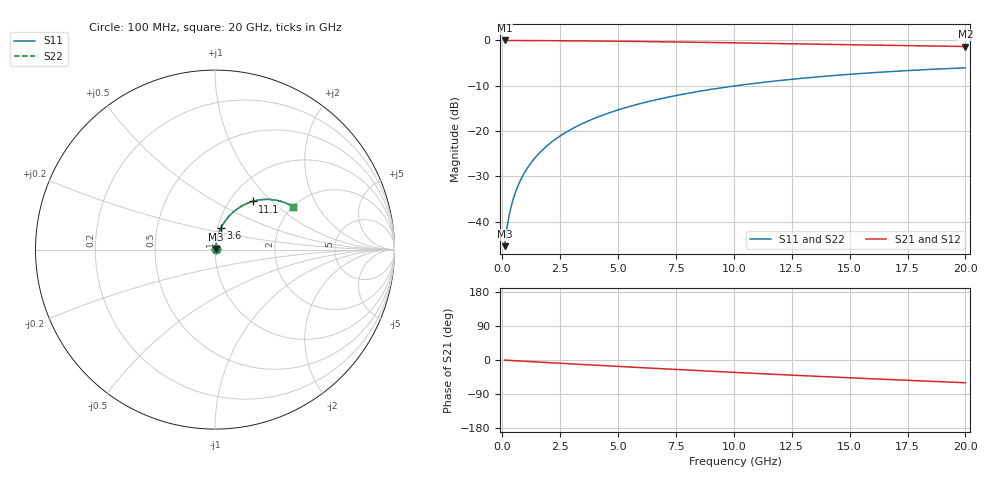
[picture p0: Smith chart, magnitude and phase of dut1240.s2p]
! Touchstone file exported from HFSS 2026.1.0
!  File:  C:/ffzhzh/LocalFiles/Ansys_Project_Files/temp_train_TMRDL_1240_1783163628_22436.aedt
!  Generated:  07:15:13 PM Jul  4, 2026
!  Design:  TMRDL
!  Project:  temp_train_TMRDL_1240_1783163628_22436
! Variables:
!  h_bsmrdl = 2um
!  h_ox = 20um
!  h_rdl = 5um
!  h_sub = 80um
!  h_tmrdl = 4.28um
!  h_tsv = 80um
!  h_via = 3um
!  l_bsmrdl = 300um
!  l_sub = 1341.21um
!  l_tmrdl = 941.21um
!  m_sub = 200um
!  pitch = 51.51um
!  r_tsv = 6um
!  s_tmrdl = 10um
!  w_bsmrdl = 18um
!  w_sub = 500um
!  w_tmrdl = 21.88um
!  x_tsv_center1 = 952.15um
!  x_tsv_center2 = 1270.15um
!  x_tsv_center3 = 2233.24um
!  x_tsv_center4 = 2551.24um
!  x_tsv_center5 = 3514.33um
!  x_tsv_center6 = 3832.33um
# GHz S MA R 50.000000
! Terminal data exported
! Port[1] = TM_RDL1_1_T1
! Port[2] = TM_RDL1_1_T2
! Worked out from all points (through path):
!   200 points, 100 MHz to 20 GHz, reference 50 ohm
!   highest |S21| = -0.03 dB at 100 MHz (marker M1); lowest = -1.4 dB at 20 GHz (marker M2)
!   group delay of S21, straight-line fit = 8.33 ps
!   lowest |S11| = -45.4 dB at 100 MHz (marker M3), VSWR 1.01, Z = 50.4 + j0.387 ohm
!   |S11| at or under -10 dB: start of sweep to 10.12 GHz
!   |S22| runs from -45.4 to -6.1 dB; largest |S21 - S12| = 3.5e-15
!   S11 on the Smith chart (normalised r, x): 100 MHz: 1.01, +0.01; 3.6 GHz: 1.04, +0.25; 11.1 GHz: 1.27, +0.77; 20 GHz: 2.01, +1.27
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0.1  0.00537 45.7  0.9963 -0.4  0.9963 -0.4  0.00537 45.7
! Gamma 0 0 0 0
! Port Impedance 50 0 50 0
0.2  0.008557 61.8  0.996 -0.7  0.996 -0.7  0.008557 61.8
0.3  0.01194 68.6  0.9958 -1.1  0.9958 -1.1  0.01194 68.6
0.4  0.01535 72.3  0.9956 -1.4  0.9956 -1.4  0.01535 72.3
0.5  0.01877 74.6  0.9954 -1.8  0.9954 -1.8  0.01877 74.6
0.6  0.02222 76.2  0.9952 -2.1  0.9952 -2.1  0.02222 76.2
0.8  0.02915 78.0  0.9949 -2.8  0.9949 -2.8  0.02915 78.0
1.1  0.03961 79.2  0.9944 -3.8  0.9944 -3.8  0.03961 79.2
1.5  0.05357 79.4  0.9935 -5.2  0.9935 -5.2  0.05357 79.4
1.8  0.06402 79.1  0.9927 -6.2  0.9927 -6.2  0.06402 79.1
2.1  0.07442 78.5  0.9917 -7.2  0.9917 -7.2  0.07442 78.5
2.7  0.09503 77.1  0.9895 -9.3  0.9895 -9.3  0.09503 77.1
3.5  0.122 74.9  0.9858 -12.0  0.9858 -12.0  0.122 74.9
3.6  0.1253 74.6  0.9853 -12.3  0.9853 -12.3  0.1253 74.6
5  0.1707 70.3  0.9771 -16.9  0.9771 -16.9  0.1707 70.3
6.8  0.2257 64.8  0.9645 -22.8  0.9645 -22.8  0.2257 64.8
8.3  0.2684 60.3  0.9526 -27.5  0.9526 -27.5  0.2684 60.2
10.1  0.3156 55.0  0.9372 -32.9  0.9372 -32.9  0.3157 54.9
11.1  0.34 52.1  0.9284 -35.9  0.9284 -35.9  0.34 52.1
13.4  0.3908 45.7  0.9079 -42.5  0.9079 -42.5  0.3908 45.6
16.7  0.4511 36.9  0.8794 -51.6  0.8794 -51.6  0.4511 36.8
20  0.4975 28.6  0.8544 -60.0  0.8544 -60.0  0.4975 28.5
